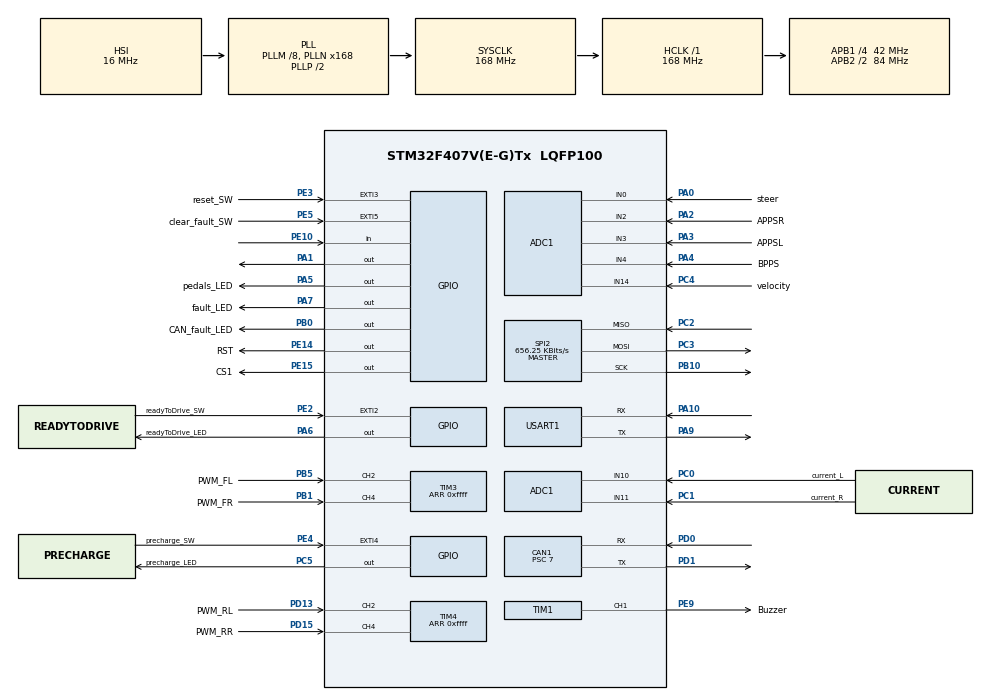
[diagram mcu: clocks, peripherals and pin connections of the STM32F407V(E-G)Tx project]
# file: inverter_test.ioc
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ADC1.Channel-0\#ChannelRegularConversion=ADC_CHANNEL_2
ADC1.Channel-1\#ChannelRegularConversion=ADC_CHANNEL_3
ADC1.Channel-2\#ChannelRegularConversion=ADC_CHANNEL_4
ADC1.Channel-3\#ChannelRegularConversion=ADC_CHANNEL_0
ADC1.Channel-4\#ChannelRegularConversion=ADC_CHANNEL_14
ADC1.Channel-5\#ChannelRegularConversion=ADC_CHANNEL_10
ADC1.Channel-6\#ChannelRegularConversion=ADC_CHANNEL_11
ADC1.ClockPrescaler=ADC_CLOCK_SYNC_PCLK_DIV8
ADC1.ContinuousConvMode=ENABLE
ADC1.DMAContinuousRequests=ENABLE
ADC1.NbrOfConversion=7
ADC1.NbrOfConversionFlag=1
ADC1.Rank-0\#ChannelRegularConversion=1
ADC1.Rank-1\#ChannelRegularConversion=2
ADC1.Rank-2\#ChannelRegularConversion=3
ADC1.Rank-3\#ChannelRegularConversion=4
ADC1.Rank-4\#ChannelRegularConversion=5
ADC1.Rank-5\#ChannelRegularConversion=6
ADC1.Rank-6\#ChannelRegularConversion=7
ADC1.SamplingTime-0\#ChannelRegularConversion=ADC_SAMPLETIME_112CYCLES
ADC1.SamplingTime-1\#ChannelRegularConversion=ADC_SAMPLETIME_112CYCLES
ADC1.SamplingTime-2\#ChannelRegularConversion=ADC_SAMPLETIME_112CYCLES
ADC1.SamplingTime-3\#ChannelRegularConversion=ADC_SAMPLETIME_112CYCLES
ADC1.SamplingTime-4\#ChannelRegularConversion=ADC_SAMPLETIME_112CYCLES
ADC1.SamplingTime-5\#ChannelRegularConversion=ADC_SAMPLETIME_112CYCLES
ADC1.SamplingTime-6\#ChannelRegularConversion=ADC_SAMPLETIME_112CYCLES
ADC1.ScanConvMode=ENABLE
ADC1.master=1
CAN1.BS1=CAN_BS1_5TQ
CAN1.BS2=CAN_BS2_6TQ
CAN1.CalculateBaudRate=500000
CAN1.CalculateTimeBit=1999.99
CAN1.CalculateTimeQuantum=166.66666666666669
CAN1.Prescaler=7
Dma.ADC1.0.Direction=DMA_PERIPH_TO_MEMORY
Dma.ADC1.0.FIFOMode=DMA_FIFOMODE_DISABLE
Dma.ADC1.0.Instance=DMA2_Stream0
Dma.ADC1.0.MemDataAlignment=DMA_MDATAALIGN_HALFWORD
Dma.ADC1.0.MemInc=DMA_MINC_ENABLE
Dma.ADC1.0.Mode=DMA_CIRCULAR
Dma.ADC1.0.PeriphDataAlignment=DMA_PDATAALIGN_HALFWORD
Dma.ADC1.0.PeriphInc=DMA_PINC_DISABLE
Dma.ADC1.0.Priority=DMA_PRIORITY_LOW
Dma.Request0=ADC1
Dma.Request1=USART1_RX
Dma.USART1_RX.1.Direction=DMA_PERIPH_TO_MEMORY
Dma.USART1_RX.1.FIFOMode=DMA_FIFOMODE_DISABLE
Dma.USART1_RX.1.Instance=DMA2_Stream2
Dma.USART1_RX.1.MemDataAlignment=DMA_MDATAALIGN_BYTE
Dma.USART1_RX.1.MemInc=DMA_MINC_ENABLE
Dma.USART1_RX.1.Mode=DMA_NORMAL
Dma.USART1_RX.1.PeriphDataAlignment=DMA_PDATAALIGN_BYTE
Dma.USART1_RX.1.PeriphInc=DMA_PINC_DISABLE
Dma.USART1_RX.1.Priority=DMA_PRIORITY_LOW
IWDG.Prescaler=IWDG_PRESCALER_32
IWDG.Reload=1000
Mcu.Family=STM32F4
Mcu.Name=STM32F407V(E-G)Tx
Mcu.Package=LQFP100
NVIC.CAN1_RX0_IRQn=true\:3\:0\:true\:true\:true\:4\:true\:true
NVIC.DMA2_Stream0_IRQn=true\:0\:0\:false\:true\:true\:1\:false\:true
NVIC.DMA2_Stream2_IRQn=true\:0\:0\:false\:false\:true\:false\:true
NVIC.EXTI2_IRQn=true\:1\:0\:true\:false\:true\:true\:true
NVIC.EXTI3_IRQn=true\:1\:0\:true\:true\:true\:2\:true\:true
NVIC.EXTI4_IRQn=true\:1\:1\:true\:true\:true\:5\:true\:true
NVIC.EXTI9_5_IRQn=true\:3\:0\:true\:true\:true\:6\:true\:true
NVIC.PriorityGroup=NVIC_PRIORITYGROUP_2
NVIC.TIM2_IRQn=true\:2\:0\:true\:true\:true\:3\:true\:true
NVIC.TIM3_IRQn=true\:2\:0\:true\:false\:true\:true\:true
NVIC.TIM4_IRQn=true\:2\:0\:true\:false\:true\:true\:true
PA0-WKUP.GPIO_Label=steer
PA0-WKUP.Signal=ADCx_IN0
PA1.Signal=GPIO_Output
PA10.Mode=Asynchronous
PA10.Signal=USART1_RX
PA2.GPIO_Label=APPSR
PA2.Signal=ADCx_IN2
PA3.GPIO_Label=APPSL
PA3.Signal=ADCx_IN3
PA4.GPIO_Label=BPPS
PA4.Signal=ADCx_IN4
PA5.GPIO_Label=pedals_LED
PA5.Signal=GPIO_Output
PA6.GPIO_Label=readyToDrive_LED
PA6.Signal=GPIO_Output
PA7.GPIO_Label=fault_LED
PA7.Signal=GPIO_Output
PA9.Mode=Asynchronous
PA9.Signal=USART1_TX
PB0.GPIO_Label=CAN_fault_LED
PB0.Signal=GPIO_Output
PB1.GPIO_Label=PWM_FR
PB1.Signal=S_TIM3_CH4
PB10.Mode=Full_Duplex_Master
PB10.Signal=SPI2_SCK
PB5.GPIO_Label=PWM_FL
PB5.Signal=S_TIM3_CH2
PC0.GPIO_Label=current_L
PC0.Signal=ADCx_IN10
PC1.GPIO_Label=current_R
PC1.Signal=ADCx_IN11
PC2.Mode=Full_Duplex_Master
PC2.Signal=SPI2_MISO
PC3.Mode=Full_Duplex_Master
PC3.Signal=SPI2_MOSI
PC4.GPIO_Label=velocity
PC4.Signal=ADCx_IN14
PC5.GPIO_Label=precharge_LED
PC5.Signal=GPIO_Output
PD0.Mode=CAN_Activate
PD0.Signal=CAN1_RX
PD1.Mode=CAN_Activate
PD1.Signal=CAN1_TX
PD13.GPIO_Label=PWM_RL
PD13.Signal=S_TIM4_CH2
PD15.GPIO_Label=PWM_RR
PD15.Signal=S_TIM4_CH4
PE10.Signal=GPIO_Input
PE14.GPIO_Label=RST
PE14.Signal=GPIO_Output
PE15.GPIO_Label=CS1
PE15.PinState=GPIO_PIN_SET
PE15.Signal=GPIO_Output
PE2.GPIO_Label=readyToDrive_SW
PE2.GPIO_ModeDefaultEXTI=GPIO_MODE_IT_RISING_FALLING
PE2.GPIO_PuPd=GPIO_PULLUP
PE2.Signal=GPXTI2
PE3.GPIO_Label=reset_SW
PE3.GPIO_ModeDefaultEXTI=GPIO_MODE_IT_RISING_FALLING
PE3.GPIO_PuPd=GPIO_PULLUP
PE3.Signal=GPXTI3
PE4.GPIO_Label=precharge_SW
PE4.GPIO_ModeDefaultEXTI=GPIO_MODE_IT_RISING_FALLING
PE4.GPIO_PuPd=GPIO_PULLDOWN
PE4.Signal=GPXTI4
PE5.GPIO_Label=clear_fault_SW
PE5.GPIO_ModeDefaultEXTI=GPIO_MODE_IT_RISING_FALLING
PE5.GPIO_PuPd=GPIO_PULLUP
PE5.Signal=GPXTI5
PE9.GPIO_Label=Buzzer
PE9.Signal=S_TIM1_CH1
PH0-OSC_IN.Mode=HSE-External-Oscillator
PH0-OSC_IN.Signal=RCC_OSC_IN
PH1-OSC_OUT.Mode=HSE-External-Oscillator
PH1-OSC_OUT.Signal=RCC_OSC_OUT
ProjectManager.HeapSize=0x200
ProjectManager.StackSize=0x400
ProjectManager.TargetToolchain=MDK-ARM V5.27
RCC.48MHZClocksFreq_Value=84000000
RCC.AHBFreq_Value=168000000
RCC.APB1CLKDivider=RCC_HCLK_DIV4
RCC.APB1Freq_Value=42000000
RCC.APB1TimFreq_Value=84000000
RCC.APB2CLKDivider=RCC_HCLK_DIV2
RCC.APB2Freq_Value=84000000
RCC.APB2TimFreq_Value=168000000
RCC.CortexFreq_Value=168000000
RCC.HCLKFreq_Value=168000000
RCC.HSE_VALUE=8000000
RCC.HSI_VALUE=16000000
RCC.LSE_VALUE=32768
RCC.PLLM=8
RCC.PLLN=168
RCC.SYSCLKFreq_VALUE=168000000
RCC.SYSCLKSource=RCC_SYSCLKSOURCE_PLLCLK
RCC.VCOOutputFreq_Value=336000000
SH.ADCx_IN0.0=ADC1_IN0,IN0
SH.ADCx_IN10.0=ADC1_IN10,IN10
SH.ADCx_IN11.0=ADC1_IN11,IN11
SH.ADCx_IN14.0=ADC1_IN14,IN14
SH.ADCx_IN2.0=ADC1_IN2,IN2
SH.ADCx_IN3.0=ADC1_IN3,IN3
SH.ADCx_IN4.0=ADC1_IN4,IN4
SH.S_TIM1_CH1.0=TIM1_CH1,PWM Generation1 CH1
SH.S_TIM3_CH2.0=TIM3_CH2,Input_Capture2_from_TI2
SH.S_TIM3_CH2.1=TIM3_CH2,TriggerSource_TI2FP2
SH.S_TIM3_CH4.0=TIM3_CH4,Input_Capture4_from_TI4
SH.S_TIM4_CH2.0=TIM4_CH2,TriggerSource_TI2FP2
SH.S_TIM4_CH2.1=TIM4_CH2,Input_Capture2_from_TI2
SH.S_TIM4_CH4.0=TIM4_CH4,Input_Capture4_from_TI4
SPI2.BaudRatePrescaler=SPI_BAUDRATEPRESCALER_64
SPI2.CLKPhase=SPI_PHASE_2EDGE
SPI2.CLKPolarity=SPI_POLARITY_HIGH
SPI2.CalculateBaudRate=656.25 KBits/s
SPI2.Direction=SPI_DIRECTION_2LINES
SPI2.Mode=SPI_MODE_MASTER
SPI2.VirtualType=VM_MASTER
TIM1.Channel-PWM\ Generation1\ CH1=TIM_CHANNEL_1
TIM1.Period=255-1
TIM1.Prescaler=646-1
TIM2.Period=100
TIM2.Prescaler=42000
TIM2.TIM_MasterOutputTrigger=TIM_TRGO_UPDATE
TIM3.Channel-Input_Capture1_from_TI2_63=TIM_CHANNEL_1
TIM3.Channel-Input_Capture2_from_TI2=TIM_CHANNEL_2
TIM3.Channel-Input_Capture3_from_TI4_63=TIM_CHANNEL_3
TIM3.Channel-Input_Capture4_from_TI4=TIM_CHANNEL_4
TIM3.ICPolarity_CH1=TIM_INPUTCHANNELPOLARITY_FALLING
TIM3.ICPolarity_CH3=TIM_INPUTCHANNELPOLARITY_FALLING
TIM3.Period=0xffff
TIM4.Channel-Input_Capture1_from_TI2_63=TIM_CHANNEL_1
TIM4.Channel-Input_Capture2_from_TI2=TIM_CHANNEL_2
TIM4.Channel-Input_Capture3_from_TI4_63=TIM_CHANNEL_3
TIM4.Channel-Input_Capture4_from_TI4=TIM_CHANNEL_4
TIM4.ICPolarity_CH1=TIM_INPUTCHANNELPOLARITY_FALLING
TIM4.ICPolarity_CH3=TIM_INPUTCHANNELPOLARITY_FALLING
TIM4.Period=0xffff
USART1.VirtualMode=VM_ASYNC
VP_IWDG_VS_IWDG.Mode=IWDG_Activate
VP_TIM1_VS_ClockSourceINT.Mode=Internal
VP_TIM2_VS_ClockSourceINT.Mode=Internal
VP_TIM3_VS_ControllerModeReset.Mode=Reset Mode
VP_TIM3_VS_indirect_ch2.Mode=Input_Capture1_from_TI2_63
VP_TIM3_VS_indirect_ch4.Mode=Input_Capture3_from_TI4_63
VP_TIM4_VS_ControllerModeReset.Mode=Reset Mode
VP_TIM4_VS_indirect_ch2.Mode=Input_Capture1_from_TI2_63
VP_TIM4_VS_indirect_ch4.Mode=Input_Capture3_from_TI4_63
board=custom

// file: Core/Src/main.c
/* USER CODE BEGIN Header */
/**
  ******************************************************************************
  * @file           : main.c
  * @brief          : Main program body
  ******************************************************************************
  * @attention
  *
  * <h2><center>&copy; Copyright (c) 2021 STMicroelectronics.
  * All rights reserved.</center></h2>
  *
  * This software component is licensed by ST under BSD 3-Clause license,
  * the "License"; You may not use this file except in compliance with the
  * License. You may obtain a copy of the License at:
  *                        opensource.org/licenses/BSD-3-Clause
  *
  ******************************************************************************
  */
/* USER CODE END Header */
#include "main.h"
#include "adc.h"
#include "can.h"
#include "dma.h"
#include "iwdg.h"
#include "spi.h"
#include "tim.h"
#include "usart.h"
#include "gpio.h"

/* USER CODE BEGIN PV */
static CAN_TxHeaderTypeDef TxMessage;
uint8_t enable = 0;
static CAN_RxHeaderTypeDef RxMessage;
uint8_t TxData[8]={0};
uint32_t TxMailbox;
uint8_t RxData[8]={0};
/* USER CODE END PV */

void SystemClock_Config(void);
static void MX_NVIC_Init(void);
/* USER CODE BEGIN PFP */
void CAN_filterConfig(void);
void CAN_Txsetup(void);
/* USER CODE END PFP */

int main(void)
{

  /* MCU Configuration--------------------------------------------------------*/

  /* Reset of all peripherals, Initializes the Flash interface and the Systick. */
  HAL_Init();

  /* Configure the system clock */
  SystemClock_Config();

  /* Initialize all configured peripherals */
  MX_GPIO_Init();
  MX_DMA_Init();
  MX_ADC1_Init();
  MX_CAN1_Init();
  MX_TIM2_Init();
  MX_IWDG_Init();
  MX_SPI2_Init();
  MX_TIM3_Init();
  MX_TIM4_Init();
  MX_TIM1_Init();
  MX_USART1_UART_Init();

  /* Initialize interrupts */
  MX_NVIC_Init();
  /* USER CODE BEGIN 2 */
	HAL_TIM_Base_Start_IT(&htim2);
	CAN_filterConfig();
	CAN_Txsetup();
  /* USER CODE END 2 */

  /* Infinite loop */
  while (1)
  {

  }
}

void SystemClock_Config(void)
{
  RCC_OscInitTypeDef RCC_OscInitStruct = {0};
  RCC_ClkInitTypeDef RCC_ClkInitStruct = {0};

  /** Configure the main internal regulator output voltage
  */
  __HAL_RCC_PWR_CLK_ENABLE();
  __HAL_PWR_VOLTAGESCALING_CONFIG(PWR_REGULATOR_VOLTAGE_SCALE1);
  /** Initializes the RCC Oscillators according to the specified parameters
  * in the RCC_OscInitTypeDef structure.
  */
  RCC_OscInitStruct.OscillatorType = RCC_OSCILLATORTYPE_HSI|RCC_OSCILLATORTYPE_LSI;
  RCC_OscInitStruct.HSIState = RCC_HSI_ON;
  RCC_OscInitStruct.HSICalibrationValue = RCC_HSICALIBRATION_DEFAULT;
  RCC_OscInitStruct.LSIState = RCC_LSI_ON;
  RCC_OscInitStruct.PLL.PLLState = RCC_PLL_ON;
  RCC_OscInitStruct.PLL.PLLSource = RCC_PLLSOURCE_HSI;
  RCC_OscInitStruct.PLL.PLLM = 8;
  RCC_OscInitStruct.PLL.PLLN = 168;
  RCC_OscInitStruct.PLL.PLLP = RCC_PLLP_DIV2;
  RCC_OscInitStruct.PLL.PLLQ = 4;
  if (HAL_RCC_OscConfig(&RCC_OscInitStruct) != HAL_OK)
  {
    Error_Handler();
  }
  /** Initializes the CPU, AHB and APB buses clocks
  */
  RCC_ClkInitStruct.ClockType = RCC_CLOCKTYPE_HCLK|RCC_CLOCKTYPE_SYSCLK
                              |RCC_CLOCKTYPE_PCLK1|RCC_CLOCKTYPE_PCLK2;
  RCC_ClkInitStruct.SYSCLKSource = RCC_SYSCLKSOURCE_PLLCLK;
  RCC_ClkInitStruct.AHBCLKDivider = RCC_SYSCLK_DIV1;
  RCC_ClkInitStruct.APB1CLKDivider = RCC_HCLK_DIV4;
  RCC_ClkInitStruct.APB2CLKDivider = RCC_HCLK_DIV2;

  if (HAL_RCC_ClockConfig(&RCC_ClkInitStruct, FLASH_LATENCY_5) != HAL_OK)
  {
    Error_Handler();
  }
}

/**
  * @brief NVIC Configuration.
  * @retval None
  */
static void MX_NVIC_Init(void)
{
  /* DMA2_Stream0_IRQn interrupt configuration */
  HAL_NVIC_SetPriority(DMA2_Stream0_IRQn, 0, 0);
  HAL_NVIC_EnableIRQ(DMA2_Stream0_IRQn);
  /* EXTI3_IRQn interrupt configuration */
  HAL_NVIC_SetPriority(EXTI3_IRQn, 1, 0);
  HAL_NVIC_EnableIRQ(EXTI3_IRQn);
  /* TIM2_IRQn interrupt configuration */
  HAL_NVIC_SetPriority(TIM2_IRQn, 2, 0);
  HAL_NVIC_EnableIRQ(TIM2_IRQn);
  /* CAN1_RX0_IRQn interrupt configuration */
  HAL_NVIC_SetPriority(CAN1_RX0_IRQn, 3, 0);
  HAL_NVIC_EnableIRQ(CAN1_RX0_IRQn);
  /* EXTI4_IRQn interrupt configuration */
  HAL_NVIC_SetPriority(EXTI4_IRQn, 1, 1);
  HAL_NVIC_EnableIRQ(EXTI4_IRQn);
  /* EXTI9_5_IRQn interrupt configuration */
  HAL_NVIC_SetPriority(EXTI9_5_IRQn, 3, 0);
  HAL_NVIC_EnableIRQ(EXTI9_5_IRQn);
}

/* USER CODE BEGIN 4 */
void HAL_TIM_PeriodElapsedCallback(TIM_HandleTypeDef *htim)
{
  /* Prevent unused argument(s) compilation warning */
  UNUSED(htim);

  /* NOTE : This function should not be modified, when the callback is needed,
            the HAL_TIM_PeriodElapsedCallback could be implemented in the user file
   */

	HAL_CAN_AddTxMessage(&hcan1,&TxMessage,TxData,&TxMailbox);

	if(enable) {
		TxData[3] = 5;
		TxData[2] = 220;
		TxData[5] = 5;
	}else{
		TxData[3] = 0;
		TxData[2] = 0;
		TxData[5] = 0;
	}
}

void CAN_filterConfig(void){
	CAN_FilterTypeDef filterConfig;

	filterConfig.FilterBank=0;
	filterConfig.FilterActivation=ENABLE;
	filterConfig.FilterFIFOAssignment=CAN_RX_FIFO0;
	filterConfig.FilterIdHigh=0x0000;
	filterConfig.FilterIdLow=0x0000;
	filterConfig.FilterMaskIdHigh=0x0000;
	filterConfig.FilterMaskIdLow=0x0000;
	filterConfig.FilterMode=CAN_FILTERMODE_IDMASK;
	filterConfig.FilterScale= CAN_FILTERSCALE_32BIT;
	filterConfig.SlaveStartFilterBank=14;

	if(HAL_CAN_ConfigFilter(&hcan1,&filterConfig)!=HAL_OK){
		Error_Handler();
	}

	if(HAL_CAN_ActivateNotification(&hcan1,CAN_IT_RX_FIFO0_MSG_PENDING)!=HAL_OK){
		Error_Handler();
	}		//enable interrupt

}
void CAN_Txsetup(){
		if(HAL_CAN_Start(&hcan1)!=HAL_OK){
		Error_Handler();
		}

		TxMessage.StdId=0x070;
		TxMessage.ExtId=0x01;
		TxMessage.RTR=CAN_RTR_DATA;
		TxMessage.IDE=CAN_ID_STD;
		TxMessage.DLC=8;
		TxMessage.TransmitGlobalTime=DISABLE;   //time trigger must be turned ON

		TxData[0]=0;
		TxData[1]=0;
		TxData[2]=0;
		TxData[3]=0;
		TxData[4]=1;
		TxData[5]=0;
		TxData[6]=0;
		TxData[7]=0;

}

void HAL_CAN_RxFifo0MsgPendingCallback(CAN_HandleTypeDef *hcan){
	if(HAL_CAN_GetRxMessage(hcan,CAN_RX_FIFO0,&RxMessage,RxData)!=HAL_OK){
		Error_Handler();
	}
}
/* USER CODE END 4 */

void Error_Handler(void)
{
  __disable_irq();
  while (1)
  {
  }
}

/************************ (C) COPYRIGHT STMicroelectronics *****END OF FILE****/
